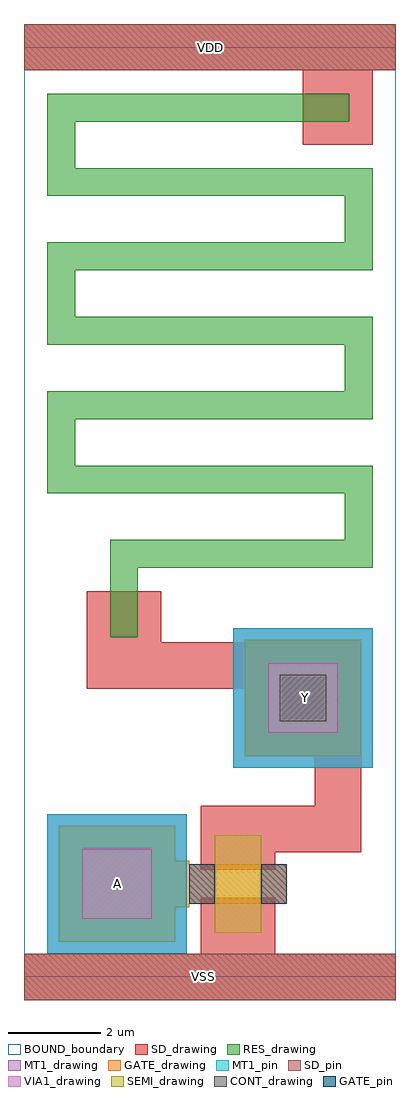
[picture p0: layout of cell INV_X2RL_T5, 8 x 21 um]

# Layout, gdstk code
from math import pi, radians
import gdstk
lib = gdstk.Library(unit=1e-6, precision=1e-09)
def R(c, l, rs):  # rectangles x0, y0, x1, y1
    for r in rs: c.add(gdstk.rectangle(r[:2], r[2:], *l))
def P(c, l, *ps):  # polygons
    for p in ps: c.add(gdstk.Polygon(p, *l))
RES_drawing = (1, 0)
SEMI_drawing = (3, 0)
SD_drawing = (10, 0)
SD_pin = (10, 3)
GATE_drawing = (11, 0)
GATE_pin = (11, 3)
MT1_drawing = (20, 0)
MT1_pin = (20, 3)
CONT_drawing = (30, 0)
VIA1_drawing = (41, 0)
BOUND_boundary = (150, 5)

nch_cdns_772544924200 = lib.new_cell('nch_CDNS_772544924200')
R(nch_cdns_772544924200, SEMI_drawing, [(-1.05,-0.5,1.05,0.5)])
R(nch_cdns_772544924200, SD_drawing, [(-1.3,-0.8,-0.3,0.8), (0.3,-0.8,1.3,0.8)])
R(nch_cdns_772544924200, GATE_drawing, [(-0.425,-1.05,0.425,1.05)])
R(nch_cdns_772544924200, GATE_pin, [(-0.425,-1.05,0.425,-0.5), (-0.425,0.5,0.425,1.05)])

gate_mt1_cdns_7725449242 = lib.new_cell('GATE_MT1_CDNS_772544924200')
R(gate_mt1_cdns_7725449242, GATE_drawing, [(-1.25,-1.25,1.25,1.25)])
R(gate_mt1_cdns_7725449242, MT1_drawing, [(-1.25,-1.25,1.25,1.25)])
R(gate_mt1_cdns_7725449242, VIA1_drawing, [(-0.75,-0.75,0.75,0.75)])

sd_gate_cdns_77254492420 = lib.new_cell('SD_GATE_CDNS_772544924201')
R(sd_gate_cdns_77254492420, SD_drawing, [(-1,-1,1,1)])
R(sd_gate_cdns_77254492420, GATE_drawing, [(-1,-1,1,1)])
R(sd_gate_cdns_77254492420, CONT_drawing, [(-0.5,-0.5,0.5,0.5)])

inv_x2rl_t5 = lib.new_cell('INV_X2RL_T5')
R(inv_x2rl_t5, SD_drawing, [(3.8,0,5.4,0.7), (4.75,4.75,7.25,7.25), (6,17.9,7.5,19.5)])
R(inv_x2rl_t5, SD_pin, [(0,-0.5,8,0.5), (0,19.5,8,20.5)])
P(inv_x2rl_t5, GATE_drawing, [(3.45,2.5),(3.45,1.5),(3.55,1.5),(3.55,1.625),(3.6,1.625),(3.6,2.375),(3.55,2.375),(3.55,2.5)])
R(inv_x2rl_t5, MT1_drawing, [(0.5,0.5,3.5,3.5), (4.5,4.5,7.5,7.5)])
R(inv_x2rl_t5, MT1_pin, [(0.5,0.5,3.5,3.5), (4.5,4.5,7.5,7.5)])
R(inv_x2rl_t5, BOUND_boundary, [(0,0,8,20)])
inv_x2rl_t5.add(gdstk.FlexPath([(2.15,6.7),(6.75,6.7)], 1, ends=(0.8, 0.5), simple_path=True, layer=10, datatype=0))  # SD_drawing
inv_x2rl_t5.add(gdstk.FlexPath([(6.75,2.675),(6.75,4.75)], 1, ends="flush", simple_path=True, layer=10, datatype=0))  # SD_drawing
inv_x2rl_t5.add(gdstk.FlexPath([(2.15,8.3),(2.15,6.7)], 1.6, ends=(0, 0.5), simple_path=True, layer=10, datatype=0))  # SD_drawing
inv_x2rl_t5.add(gdstk.FlexPath([(3.8,3.175),(6.75,3.175)], 1, ends=(0, 0.5), simple_path=True, layer=10, datatype=0))  # SD_drawing
inv_x2rl_t5.add(gdstk.FlexPath([(0,20),(8,20)], 1, ends="flush", simple_path=True, layer=10, datatype=0))  # SD_drawing
inv_x2rl_t5.add(gdstk.FlexPath([(0,0),(8,0)], 1, ends="flush", simple_path=True, layer=10, datatype=0))  # SD_drawing
inv_x2rl_t5.add(gdstk.FlexPath([(3.55,2),(0.75,2)], 1, ends="flush", simple_path=True, layer=11, datatype=0))  # GATE_drawing
inv_x2rl_t5.add(gdstk.FlexPath([(7,18.7),(0.8,18.7),(0.8,17.1),(7.2,17.1),(7.2,15.5),(0.8,15.5),(0.8,13.9),(7.2,13.9),(7.2,12.3),(0.8,12.3),(0.8,10.7),(7.2,10.7),(7.2,9.1),(2.15,9.1),(2.15,7.3)], 0.6, ends="flush", simple_path=True, layer=1, datatype=0))  # RES_drawing
inv_x2rl_t5.add(gdstk.Reference(nch_cdns_772544924200, (4.6,2), rotation=3*pi/2))
inv_x2rl_t5.add(gdstk.Reference(gate_mt1_cdns_7725449242, (6,6)))
inv_x2rl_t5.add(gdstk.Reference(gate_mt1_cdns_7725449242, (2,2)))
inv_x2rl_t5.add(gdstk.Reference(sd_gate_cdns_77254492420, (6,6)))
inv_x2rl_t5.add(gdstk.Label('A', (2,2), layer=20, texttype=3))
inv_x2rl_t5.add(gdstk.Label('Y', (6.05,6), layer=20, texttype=3))
inv_x2rl_t5.add(gdstk.Label('VSS', (3.85,0), layer=10, texttype=3))
inv_x2rl_t5.add(gdstk.Label('VDD', (4,20), layer=10, texttype=3))

lib.write_gds('INV_X2RL_T5.gds')
